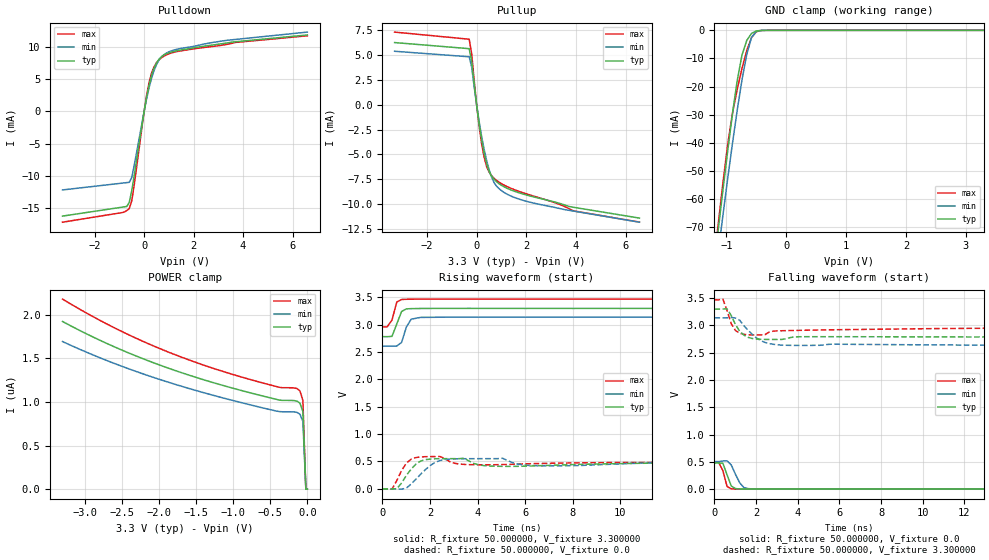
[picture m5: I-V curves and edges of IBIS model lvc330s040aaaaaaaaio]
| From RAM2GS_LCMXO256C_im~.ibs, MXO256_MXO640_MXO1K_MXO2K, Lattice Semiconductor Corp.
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[Model]   lvc330s040aaaaaaaaio
Model_type   I/O
Polarity   Non-Inverting
Enable   Active-Low
Vinl =   0.800000V
Vinh =   2.000000V
Vmeas =   1.650000V
Cref =   0.0F
Rref =   1.000000M
Vref =   0.0V
C_comp   2.68pF   2.54pF   2.92pF
[Temperature Range]   25.000000   0.105000k   -40.000000
[Voltage Range]   3.300000V   3.140000V   3.470000V
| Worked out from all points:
|   slope of the pulldown table from 0 to 0.495 V, typ, clamps not added: 65.9 ohm
|   slope of the pullup table from 0 to 0.495 V, typ, clamps not added: 74.4 ohm
|   GND clamp passes 1 mA (typ) near -0.57 V on its own axis
|   rising waveform, R_fixture 50.000000, V_fixture 3.300000: 20-80 % time 275ps typ, 279ps min, 212ps max; typ from 2.78 V to 3.3 V
|   rising waveform, R_fixture 50.000000, V_fixture 0.0: 20-80 % time 472ps typ, 707ps min, 353ps max; typ from 0 V to 0.479 V
|   falling waveform, R_fixture 50.000000, V_fixture 0.0: 20-80 % time 280ps typ, 394ps min, 236ps max; typ from 0.48 V to 0 V
|   falling waveform, R_fixture 50.000000, V_fixture 3.300000: 20-80 % time 454ps typ, 845ps min, 269ps max; typ from 3.3 V to 2.78 V
[Pulldown]
|Voltage   I(typ)   I(min)   I(max)
-3.3V     -16.26mA   -12.2mA    -17.21mA
-700mV    -14.76mA   -11.06mA   -15.39mA
-600mV    -14.12mA   -11.01mA   -15.09mA
-500mV    -12.31mA   -10.25mA   -13.89mA
-400mV    -9.922mA   -8.354mA   -11.4mA
0V        9.27nA     8.64nA     10.95nA
200mV     4.086mA    3.684mA    4.499mA
400mV     6.738mA    6.352mA    6.93mA
700mV     8.511mA    8.477mA    8.338mA
1.2V      9.34mA     9.543mA    9.202mA
2.7V      10.3mA     10.68mA    10.07mA
6.6V      11.89mA    12.34mA    11.76mA
[Pullup]
|Voltage   I(typ)   I(min)   I(max)
-3.3V     6.26mA     5.385mA    7.315mA
-300mV    5.646mA    4.829mA    6.598mA
-200mV    4.436mA    3.802mA    5.175mA
0V        -6.17nA    -5.46nA    -7.06nA
100mV     -1.893mA   -1.674mA   -2.146mA
200mV     -3.512mA   -3.165mA   -3.901mA
300mV     -4.855mA   -4.471mA   -5.258mA
500mV     -6.695mA   -6.526mA   -6.766mA
800mV     -7.747mA   -8.192mA   -7.615mA
1.7V      -8.86mA    -9.494mA   -8.714mA
3.9V      -10.32mA   -10.71mA   -10.68mA
6.55V     -11.41mA   -11.82mA   -11.81mA
[GND_clamp]
|Voltage   I(typ)   I(min)   I(max)
-3.3V     -966.2mA   -950.5mA   -981.2mA
-1.14V    -71.66mA   -79.64mA   -69.55mA
-1.06V    -57.22mA   -66.14mA   -54.65mA
-980mV    -43.21mA   -53.02mA   -40.87mA
-900mV    -29.92mA   -40.4mA    -29.6mA
-820mV    -17.96mA   -28.51mA   -21.04mA
-740mV    -8.811mA   -17.67mA   -13.57mA
-660mV    -3.585mA   -8.563mA   -7.151mA
-580mV    -1.078mA   -2.529mA   -2.551mA
-500mV    -216.5uA   -395.1uA   -485.3uA
-340mV    -4.48uA    -6.181uA   -4.704uA
3.3V      152nA      1.621uA    132.3nA
[POWER_clamp]
|Voltage   I(typ)   I(min)   I(max)
-3.3V     1.922uA    1.692uA    2.179uA
-2.94V    1.765uA    1.556uA    2.001uA
-2.54V    1.609uA    1.421uA    1.823uA
-1.74V    1.348uA    1.191uA    1.527uA
-1.26V    1.219uA    1.074uA    1.383uA
-700mV    1.089uA    951.8nA    1.24uA
-380mV    1.022uA    889.5nA    1.168uA
-140mV    1.009uA    880.1nA    1.154uA
-100mV    985.5nA    859.3nA    1.126uA
-60mV     890.1nA    776.2nA    1.017uA
-20mV     1.5pA      1.2pA      1.8pA
0V        0A         0A         0A
[Ramp]
| variable   typ   min   max
dV/dt_r  0.287457/0.467122n  0.301305/0.700268n  0.291706/0.349090n
dV/dt_f  0.309900/0.449885n  0.304680/0.837003n  0.308100/0.266290n
R_load = 50.000000
[Rising Waveform]
R_fixture=   50.000000
V_fixture=   3.300000
V_fixture_min=   3.140000
V_fixture_max=   3.470000
|time   V(typ)   V(min)   V(max)
0s        2.783V     2.609V     2.96V
202ps     2.783V     2.609V     2.963V
404ps     2.788V     2.611V     3.087V
606.1ps   3.016V     2.612V     3.417V
808.1ps   3.244V     2.679V     3.463V
1.01ns    3.292V     2.962V     3.467V
1.212ns   3.296V     3.103V     3.469V
1.616ns   3.299V     3.136V     3.47V
5.253ns   3.3V       3.141V     3.47V
20ns      3.3V       3.14V      3.47V
[Rising Waveform]
R_fixture=   50.000000
V_fixture=   0.0
V_fixture_min=   0.0
V_fixture_max=   0.0
|time   V(typ)   V(min)   V(max)
0s        4.226uV    4.92uV     3.956uV
404ps     -1.733mV   5.664uV    -6.572mV
606.1ps   1.817mV    -405uV     151.9mV
1.01ns    246.8mV    13.03mV    470.8mV
1.818ns   534.4mV    353.6mV    588mV
2.424ns   550.8mV    517.3mV    590.9mV
3.03ns    551.6mV    548.7mV    468.1mV
5.051ns   411.1mV    558.9mV    443.3mV
6.667ns   423.7mV    422.4mV    463.5mV
20ns      479.1mV    502.2mV    486.2mV
[Falling Waveform]
R_fixture=   50.000000
V_fixture=   0.0
V_fixture_min=   0.0
V_fixture_max=   0.0
|time   V(typ)   V(min)   V(max)
0s        479.6mV    504.1mV    486.2mV
202ps     479.6mV    504.1mV    490.5mV
404ps     474.7mV    515.9mV    338.7mV
606.1ps   261mV      518.8mV    49.23mV
808.1ps   57.69mV    442.4mV    5.359mV
1.01ns    10.01mV    270.6mV    1.611mV
1.212ns   3.219mV    116.6mV    420.3uV
1.414ns   1.54mV     28.45mV    168.6uV
1.818ns   242.7uV    4.556mV    28.11uV
20ns      4.294uV    6.077uV    3.344uV
[Falling Waveform]
R_fixture=   50.000000
V_fixture=   3.300000
V_fixture_min=   3.140000
V_fixture_max=   3.470000
|time   V(typ)   V(min)   V(max)
0s        3.3V       3.14V      3.47V
404ps     3.301V     3.139V     3.483V
606.1ps   3.304V     3.14V      3.272V
808.1ps   3.179V     3.146V     3.03V
1.01ns    3.015V     3.136V     2.907V
1.616ns   2.781V     2.91V      2.829V
2.222ns   2.745V     2.722V     2.826V
3.232ns   2.743V     2.639V     2.902V
4.444ns   2.794V     2.634V     2.913V
20ns      2.784V     2.632V     2.957V
